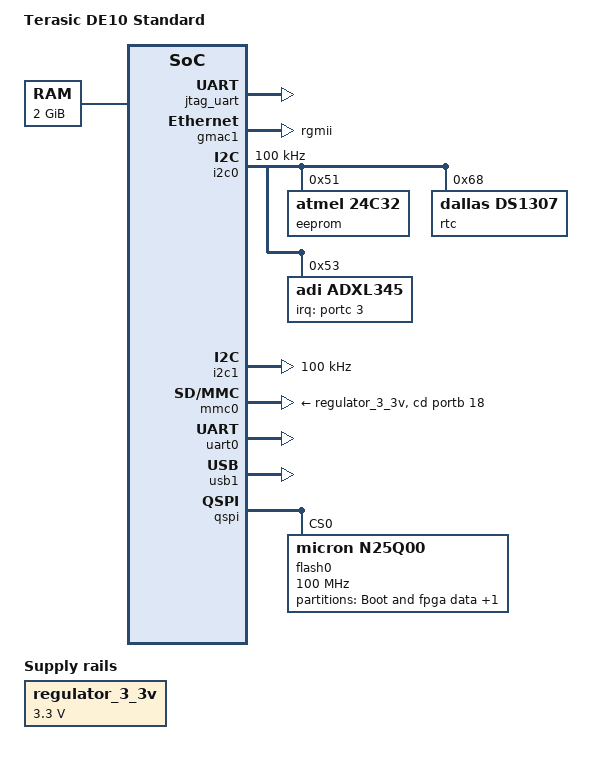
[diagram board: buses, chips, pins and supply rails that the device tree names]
/*
 * Device Tree Source for Terasic DE10-Standard (Cyclone V SoC)
 * Based on Intel SoCFPGA GSRD Device Tree
 */

/dts-v1/;
#include "socfpga_cyclone5.dtsi"

/ {
	model = "Terasic DE10 Standard";
	compatible = "terasic,de10-standard", "altr,socfpga-cyclone5", "altr,socfpga";

	chosen {
		bootargs = "earlyprintk";
		stdout-path = "serial0:115200n8";
	};

	memory@0 {
		device_type = "memory";
		reg = <0x0 0x80000000>; /* 2GB DDR3 SDRAM */
	};

	aliases {
		ethernet0 = &gmac1;
		serial0 = &uart0;
	};

	regulator_3_3v: 3-3-v-regulator {
		compatible = "regulator-fixed";
		regulator-name = "3.3V";
		regulator-min-microvolt = <3300000>;
		regulator-max-microvolt = <3300000>;
	};

	/* FPGA Soft IP components */
	soc {
		/* LED PIO */
		led_pio: gpio@ff200000 {
			compatible = "altr,pio-1.0";
			reg = <0xff200000 0x10>;
			interrupts = <0 40 4>;
			altr,gpio-bank-width = <10>;
			altr,interrupt-type = <4>;
			altr,interrupt_type = <4>;
			resetvalue = <0>;
			#gpio-cells = <2>;
			gpio-controller;
			gpio-line-names = "LED0", "LED1", "LED2", "LED3", "LED4",
					  "LED5", "LED6", "LED7", "LED8", "LED9";
		};

		/* Button PIO */
		button_pio: gpio@ff200010 {
			compatible = "altr,pio-1.0";
			reg = <0xff200010 0x10>;
			interrupts = <0 41 4>;
			altr,gpio-bank-width = <4>;
			altr,interrupt-type = <2>;
			altr,interrupt_type = <2>;
			edge_type = <1>;
			level_trigger = <0>;
			resetvalue = <0>;
			#gpio-cells = <2>;
			gpio-controller;
			gpio-line-names = "KEY0", "KEY1", "KEY2", "KEY3";
		};

		/* DIP Switch PIO */
		dipsw_pio: gpio@ff200020 {
			compatible = "altr,pio-1.0";
			reg = <0xff200020 0x10>;
			interrupts = <0 42 4>;
			altr,gpio-bank-width = <10>;
			altr,interrupt-type = <3>;
			altr,interrupt_type = <3>;
			edge_type = <1>;
			level_trigger = <0>;
			resetvalue = <0>;
			#gpio-cells = <2>;
			gpio-controller;
			gpio-line-names = "SW0", "SW1", "SW2", "SW3", "SW4",
					  "SW5", "SW6", "SW7", "SW8", "SW9";
		};

		/* JTAG UART */
		jtag_uart: serial@ff201000 {
			compatible = "altr,juart-1.0";
			reg = <0xff201000 0x8>;
			interrupts = <0 60 4>;
		};
	};
};

&gmac1 {
	status = "okay";
	phy-mode = "rgmii";
	phy-addr = <0xffffffff>; /* probe for phy addr */

	rxd0-skew-ps = <420>;
	rxd1-skew-ps = <420>;
	rxd2-skew-ps = <420>;
	rxd3-skew-ps = <420>;
	txen-skew-ps = <0>;
	txc-skew-ps = <1860>;
	rxdv-skew-ps = <420>;
	rxc-skew-ps = <1680>;

	max-frame-size = <3800>;
};

&gpio0 {
	status = "okay";
};

&gpio1 {
	status = "okay";
};

&gpio2 {
	status = "okay";
};

&i2c0 {
	status = "okay";
	clock-frequency = <100000>;

	eeprom@51 {
		compatible = "atmel,24c32";
		reg = <0x51>;
		pagesize = <32>;
	};

	rtc@68 {
		compatible = "dallas,ds1307";
		reg = <0x68>;
	};

	adxl345@53 {
		compatible = "adi,adxl345";
		reg = <0x53>;
		interrupt-parent = <&portc>;
		interrupts = <3 2>;
	};
};

&i2c1 {
	status = "okay";
	clock-frequency = <100000>;
};

&mmc0 {
	status = "okay";
	cd-gpios = <&portb 18 0>;
	vmmc-supply = <&regulator_3_3v>;
	vqmmc-supply = <&regulator_3_3v>;
};

&uart0 {
	status = "okay";
};

&usb1 {
	status = "okay";
};

&qspi {
	status = "okay";
	flash0: n25q00@0 {
		#address-cells = <1>;
		#size-cells = <1>;
		compatible = "micron,n25q00", "jedec,spi-nor";
		reg = <0>;
		spi-max-frequency = <100000000>;

		m25p,fast-read;
		cdns,page-size = <256>;
		cdns,block-size = <16>;
		cdns,read-delay = <4>;
		cdns,tshsl-ns = <50>;
		cdns,tsd2d-ns = <50>;
		cdns,tchsh-ns = <4>;
		cdns,tslch-ns = <4>;

		partitions {
			compatible = "fixed-partitions";
			#address-cells = <1>;
			#size-cells = <1>;

			qspi_boot: partition@0 {
				label = "Boot and fpga data";
				reg = <0x0 0x4000000>;
			};

			qspi_rootfs: partition@4000000 {
				label = "Root Filesystem - JFFS2";
				reg = <0x4000000 0x4000000>;
			};
		};
	};
};

&fpga_bridge0 {
	status = "okay";
};

&fpga_bridge1 {
	status = "okay";
};

&fpga_bridge2 {
	status = "okay";
};

&fpga_bridge3 {
	status = "okay";
};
